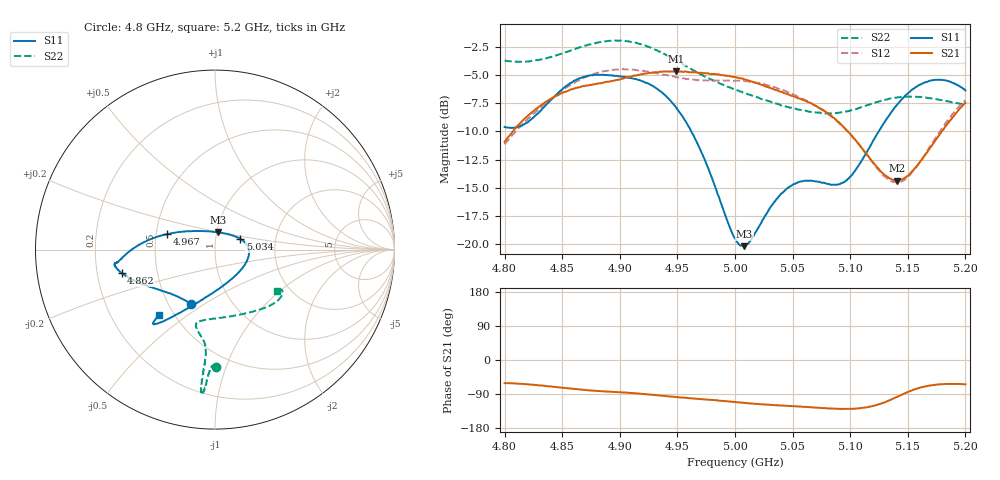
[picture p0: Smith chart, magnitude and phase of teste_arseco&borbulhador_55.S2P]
! Network Analyzer HP8722D
! Hewlett-Packard
! Data name: Linha & Wilkinson
! Saver's name: Rodrigo Anjos
! Comments: Teste da utilização de aquisição
! continua pelo VNA HP8722D
! Time and date: 15/4/2025 16:05
!  Frequency  S11  S21  S12  S22
# HZ  S  MA R 50
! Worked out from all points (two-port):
!   401 points, 4.8 GHz to 5.2 GHz, reference 50 ohm
!   highest |S21| = -4.64 dB at 4.949 GHz (marker M1); lowest = -14.4 dB at 5.141 GHz (marker M2)
!   |S21| within 3 dB of the highest: 4.832 GHz to 5.069 GHz (236.8 MHz wide, 4.78 % of centre); 5.198143 GHz to end of sweep
!   lowest |S11| = -20.2 dB at 5.008 GHz (marker M3), VSWR 1.22, Z = 51 + j9.85 ohm
!   |S11| at or under -10 dB: 4.962 GHz to 5.125 GHz (162.7 MHz wide, 3.23 % of centre)
!   |S22| runs from -8.4 to -1.9 dB; largest |S21 - S12| = 0.88
!   S11 on the Smith chart (normalised r, x): 4.8 GHz: 0.65, -0.44; 4.862 GHz: 0.31, -0.11; 4.967 GHz: 0.57, +0.11; 5.034 GHz: 1.32, +0.16; 5.2 GHz: 0.41, -0.39
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4.8e9  0.3312 -114.0  0.284 -61.0  0.2773 -175.1  0.654 -89.6
4.819e9  0.3458 -133.9  0.3671 -63.9  0.3543 -173.5  0.6483 -91.2
4.862e9  0.5363 -165.9  0.4953 -76.7  0.5264 -176.6  0.7397 -93.7
4.867e9  0.5491 -167.9  0.5024 -78.5  0.5428 -177.6  0.755 -93.8
4.902e9  0.5552 -172.5  0.544 -85.4  0.5987 175.0  0.8011 -95.4
4.934e9  0.4829 -178.4  0.5822 -93.5  0.5726 171.7  0.7174 -95.7
4.949e9  0.4037 174.7  0.5859 -97.6  0.5513 172.0  0.6545 -95.4
4.967e9  0.2825 162.2  0.5791 -102.4  0.535 173.9  0.5787 -95.1
5e9  0.1057 106.3  0.553 -111.2  0.5326 176.2  0.4861 -99.3
5.008e9  0.09752 78.8  0.5397 -113.1  0.5311 176.0  0.47 -101.2
5.014e9  0.1039 59.9  0.5284 -114.7  0.5261 176.1  0.4585 -102.5
5.034e9  0.1532 23.0  0.4864 -119.1  0.4987 175.0  0.4234 -104.1
5.049e9  0.1817 7.2  0.4559 -121.5  0.4665 174.4  0.4036 -100.7
5.067e9  0.1905 -12.0  0.4202 -124.7  0.4203 173.9  0.3844 -91.8
5.086e9  0.1832 -42.4  0.3632 -128.5  0.3602 173.5  0.3814 -77.6
5.097e9  0.1916 -65.6  0.3197 -129.1  0.319 174.5  0.3885 -68.4
5.134e9  0.3743 -116.4  0.1953 -106.5  0.1919 -159.4  0.4428 -43.4
5.141e9  0.4175 -120.4  0.1913 -96.7  0.1875 -148.2  0.4485 -40.3
5.153e9  0.4828 -125.2  0.2081 -80.7  0.2055 -129.6  0.452 -36.0
5.17e9  0.5329 -128.9  0.2696 -66.9  0.2748 -113.0  0.4446 -32.1
5.184e9  0.5319 -130.1  0.3403 -63.2  0.3511 -107.3  0.4314 -31.2
5.2e9  0.4818 -130.6  0.4249 -64.2  0.4359 -106.2  0.4156 -33.5
